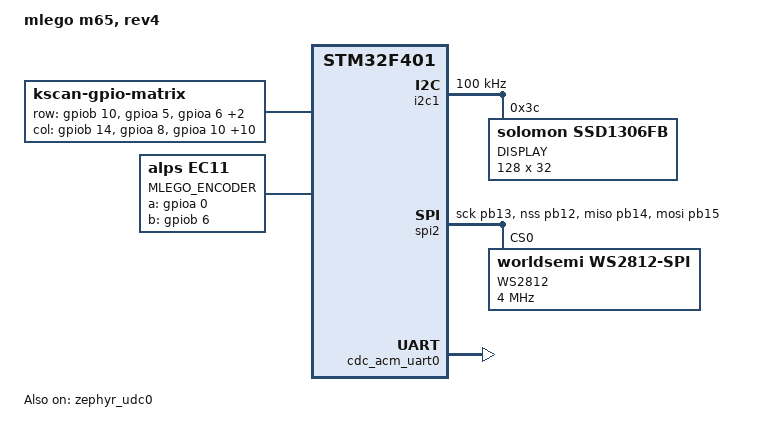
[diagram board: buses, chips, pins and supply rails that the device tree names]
/*
 * Copyright (c) 2022 The ZMK Contributors
 *
 * SPDX-License-Identifier: MIT
 */
#include <dt-bindings/zmk/matrix_transform.h>
#include <dt-bindings/led/led.h>

/ {

    model = "mlego m65, rev4";
    compatible = "mlego,rev4", "st,stm32f401";

    chosen {
        zmk,kscan = &kscan0;
        zephyr,display = &oled;
        zmk,underglow = &led_strip;
        zephyr,console = &cdc_acm_uart0;
/*
        zmk,led-capslock = &led_capslock;
        zmk,led-numlock = &led_numlock;
        zmk,led-compose = &led_scrollock;
*/
    };

    kscan0: kscan {
        compatible = "zmk,kscan-gpio-matrix";
        label = "KSCAN";
        diode-direction = "col2row";

        row-gpios
            = <&gpiob 10 (GPIO_ACTIVE_HIGH | GPIO_PULL_DOWN)>
            , <&gpioa  5 (GPIO_ACTIVE_HIGH | GPIO_PULL_DOWN)>
            , <&gpioa  6 (GPIO_ACTIVE_HIGH | GPIO_PULL_DOWN)>
            , <&gpioa  7 (GPIO_ACTIVE_HIGH | GPIO_PULL_DOWN)>
            , <&gpiob  0 (GPIO_ACTIVE_HIGH | GPIO_PULL_DOWN)>
            ;

        col-gpios
            = <&gpiob 14 GPIO_ACTIVE_HIGH>
            , <&gpioa  8 GPIO_ACTIVE_HIGH>
            , <&gpioa 10 GPIO_ACTIVE_HIGH>
            , <&gpioa 15 GPIO_ACTIVE_HIGH>
            , <&gpiob  3 GPIO_ACTIVE_HIGH>
            , <&gpiob  4 GPIO_ACTIVE_HIGH>
            , <&gpiob  5 GPIO_ACTIVE_HIGH>
            , <&gpiob  7 GPIO_ACTIVE_HIGH>
            , <&gpioa  1 GPIO_ACTIVE_HIGH>
            , <&gpioa  2 GPIO_ACTIVE_HIGH>
            , <&gpioa  3 GPIO_ACTIVE_HIGH>
            , <&gpioa  4 GPIO_ACTIVE_HIGH>
            , <&gpiob  1 GPIO_ACTIVE_HIGH>
            ;
    };

    mlego_encoder: mlego_encoder {
        compatible = "alps,ec11";
        label = "MLEGO_ENCODER";
        a-gpios = <&gpioa 0 (GPIO_ACTIVE_HIGH | GPIO_PULL_UP)>;
        b-gpios = <&gpiob 6 (GPIO_ACTIVE_HIGH | GPIO_PULL_UP)>;
        resolution = <4>;
    };

    sensors {
      compatible = "zmk,keymap-sensors";
      sensors = <&mlego_encoder>;
    };
/*
    ext-power {
        compatible = "zmk,ext-power-generic";
        init-delay-ms = <20>;
        control-gpios = <&gpiob 15 GPIO_ACTIVE_HIGH>;
    };
*/
 /*  
      led_indicators {
        compatible = "gpio-leds";
        label = "LED indicators";
        led_capslock: led_capslock {
            gpios = <&gpioc 13 GPIO_ACTIVE_LOW>;
            label = "Capslock LED";
        };
        led_numlock: led_numlock {
            gpios = <&gpiob 13 GPIO_ACTIVE_HIGH>;
            label = "Num lock LED";
        };
        led_scrollock: led_scrollock {
            gpios = <&gpiob 12 GPIO_ACTIVE_HIGH>;
            label = "Scroll lock LED";
        };
    };
*/
};

&mlego_encoder {
    status = "okay";
};

&spi1{
                        status = "disabled";


};
&i2c1 {
      status = "okay";
       clock-frequency = <I2C_BITRATE_STANDARD>;

      oled: ssd1306@3c {
        compatible = "solomon,ssd1306fb";
        inversion-on;
        reg = < 0x3c >;
        label="DISPLAY";
        width = < 0x80 >;
        height = < 0x20 >;
        segment-offset = < 0x0 >;
        page-offset = < 0x0 >;
        display-offset = < 0x0 >;
        multiplex-ratio = < 0x1f >;
        com-sequential;
        prechargep = < 0x22 >;
      };
    };

&spi2 {
  status = "okay";
  pinctrl-0 = <&spi2_sck_pb13 &spi2_nss_pb12
         &spi2_miso_pb14 &spi2_mosi_pb15>;
  pinctrl-names = "default";
  // Unused pins, needed for SPI definition, but not used by the ws2812 driver itself.

  led_strip: ws2812@0 {
    compatible = "worldsemi,ws2812-spi";
    label = "WS2812";

    /* SPI */
    reg = <0>; /* ignored, but necessary for SPI bindings */
    spi-max-frequency = <4000000>;

    /* WS2812 */
    chain-length = <20>; /* arbitrary; change at will as long as enough current*/
    spi-one-frame = <0x70>;
    spi-zero-frame = <0x40>;
    color-mapping = <LED_COLOR_ID_GREEN LED_COLOR_ID_RED LED_COLOR_ID_BLUE>;
  };
};
&zephyr_udc0 {
  status="ok";
  cdc_acm_uart0: cdc_acm_uart0 {
    compatible = "zephyr,cdc-acm-uart";
    label = "CDC_ACM_0";

  };
};
